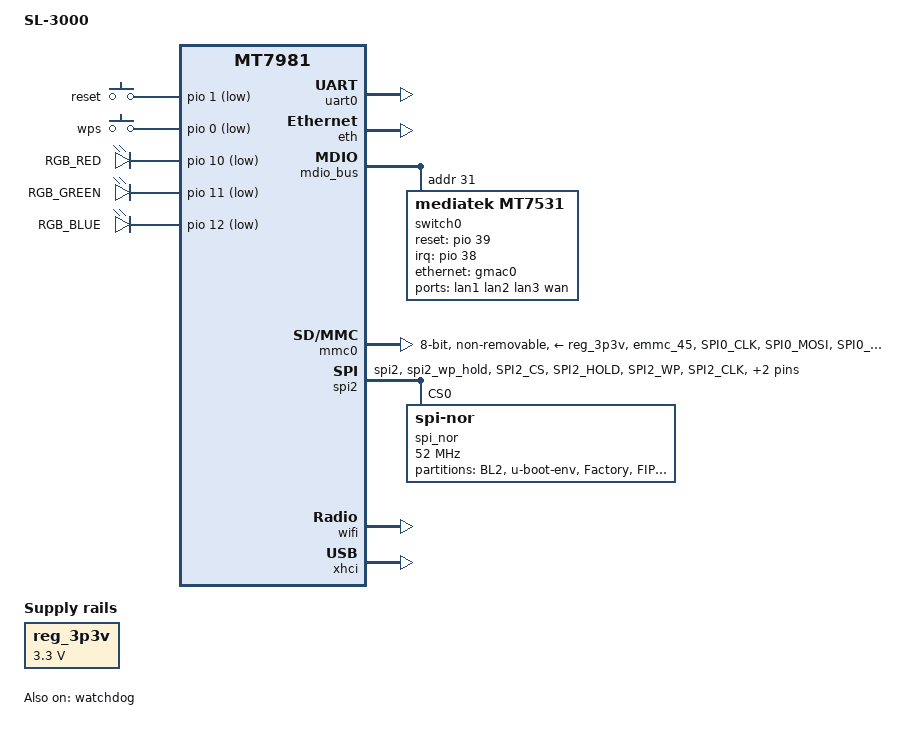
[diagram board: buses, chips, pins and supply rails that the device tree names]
/dts-v1/;

#include "mt7981.dtsi"

/ {
	model = "SL-3000";
	compatible = "sl,3000", "mediatek,mt7981";

	aliases {
		led-boot = &led_run;
		led-failsafe = &led_blue;
		led-running = &led_green;
		led-upgrade = &led_blue;
		serial0 = &uart0;
		label-mac-device = &wan;
	};

	chosen {
	        bootargs = "root=PARTLABEL=rootfs rootwait";
		stdout-path = "serial0:115200n8";
	};

	gpio-keys {
		compatible = "gpio-keys";

		reset {
			label = "reset";
			linux,code = <KEY_RESTART>;
			gpios = <&pio 1 GPIO_ACTIVE_LOW>;
		};

		wps {
			label = "wps";
			linux,code = <KEY_WPS_BUTTON>;
			gpios = <&pio 0 GPIO_ACTIVE_LOW>;
		};
	};

	leds {
		compatible = "gpio-leds";

		led_run: RGB_RED {
			label = "RGB_RED";
			gpios = <&pio 10 GPIO_ACTIVE_LOW>;
			default-state = "on";
		};

		led_green: RGB_GREEN {
			label = "RGB_GREEN";
			gpios = <&pio 11 GPIO_ACTIVE_LOW>;
			default-state = "off";
		};

		led_blue: RGB_BLUE {
			label = "RGB_BLUE";
			gpios = <&pio 12 GPIO_ACTIVE_LOW>;
			default-state = "off";
		};
	};

	reg_3p3v: regulator-3p3v {
		compatible = "regulator-fixed";
		regulator-name = "fixed-3.3V";
		regulator-min-microvolt = <3300000>;
		regulator-max-microvolt = <3300000>;
		regulator-boot-on;
		regulator-always-on;
	};
};

&uart0 {
	status = "okay";
};

&watchdog {
	status = "okay";
};

&eth {
	pinctrl-names = "default";
	pinctrl-0 = <&mdio_pins>;

	status = "okay";

	gmac0: mac@0 {
		compatible = "mediatek,eth-mac";
		reg = <0>;
		phy-mode = "2500base-x";
		nvmem-cells = <&macaddr_factory_4 (-1)>;
		nvmem-cell-names = "mac-address";

		fixed-link {
			speed = <2500>;
			full-duplex;
			pause;
		};
	};
};

&mdio_bus {
	switch0: switch@1f {
		compatible = "mediatek,mt7531";
		reg = <31>;
		dsa,member = <0 0>;
		reset-gpios = <&pio 39 GPIO_ACTIVE_HIGH>;
		interrupt-controller;
		#interrupt-cells = <1>;
		interrupt-parent = <&pio>;
		interrupts = <38 IRQ_TYPE_LEVEL_HIGH>;
	};
};

&switch0 {
	ports {
		#address-cells = <1>;
		#size-cells = <0>;

		port@0 {
			reg = <0>;
			label = "lan1";
		};

		port@1 {
			reg = <1>;
			label = "lan2";
		};

		port@2 {
			reg = <2>;
			label = "lan3";
		};

		wan: port@3 {
			reg = <3>;
			label = "wan";
			nvmem-cells = <&macaddr_factory_4 (-2)>;
			nvmem-cell-names = "mac-address";
		};

		port@6 {
			reg = <6>;
			ethernet = <&gmac0>;
			phy-mode = "2500base-x";

			fixed-link {
				speed = <2500>;
				full-duplex;
				pause;
			};
		};
	};
};

&mmc0 {
	pinctrl-names = "default", "state_uhs";
	pinctrl-0 = <&mmc0_pins_default>;
	pinctrl-1 = <&mmc0_pins_uhs>;
	bus-width = <8>;
	max-frequency = <52000000>;
	cap-mmc-highspeed;
	vmmc-supply = <&reg_3p3v>;
	non-removable;
	status = "okay";
};

&spi2 {
	pinctrl-names = "default";
	pinctrl-0 = <&spi2_flash_pins>;
	status = "okay";

	spi_nor@0 {
		#address-cells = <1>;
		#size-cells = <1>;
		compatible = "jedec,spi-nor";
		reg = <0>;
		spi-max-frequency = <52000000>;
		spi-tx-bus-width = <4>;
		spi-rx-bus-width = <4>;

		partitions {
			compatible = "fixed-partitions";
			#address-cells = <1>;
			#size-cells = <1>;

			partition@00000 {
				label = "BL2";
				reg = <0x00000 0x0100000>;
			};
			partition@100000 {
				label = "u-boot-env";
				reg = <0x0100000 0x0080000>;
			};
			factory: partition@180000 {
				label = "Factory";
				reg = <0x180000 0x0200000>;

				nvmem-layout {
					compatible = "fixed-layout";
					#address-cells = <1>;
					#size-cells = <1>;

					macaddr_factory_4: macaddr@4 {
						compatible = "mac-base";
						reg = <0x4 0x6>;
						#nvmem-cell-cells = <1>;
					};
				};
			};
			partition@380000 {
				label = "FIP";
				reg = <0x380000 0x0200000>;
			};
			partition@580000 {
				label = "firmware";
				reg = <0x580000 0x1900000>;
			};
			partition@1e80000 {
				label = "Product";
				reg = <0x1e80000 0x20000>;
			};
			partition@1ea0000 {
				label = "Custom";
				reg = <0x1ea0000 0x160000>;
			};
		};
	};
};

&pio {
	spi2_flash_pins: spi2-pins {
		mux {
			function = "spi";
			groups = "spi2", "spi2_wp_hold";
		};

		conf-pu {
			pins = "SPI2_CS", "SPI2_HOLD", "SPI2_WP";
			drive-strength = <MTK_DRIVE_8mA>;
			bias-pull-up = <MTK_PUPD_SET_R1R0_11>;
		};

		conf-pd {
			pins = "SPI2_CLK", "SPI2_MOSI", "SPI2_MISO";
			drive-strength = <MTK_DRIVE_8mA>;
			bias-pull-down = <MTK_PUPD_SET_R1R0_11>;
		};
	};

	mmc0_pins_default: mmc0-pins-default {
		mux {
			function = "flash";
			groups = "emmc_45";
		};

		conf-cmd-dat {
			pins = "SPI0_CLK", "SPI0_MOSI", "SPI0_MISO",
				"SPI0_CS",  "SPI0_HOLD", "SPI0_WP",
				"SPI1_CLK", "SPI1_MOSI", "SPI1_MISO";
			input-enable;
			drive-strength = <MTK_DRIVE_4mA>;
			bias-pull-up = <MTK_PUPD_SET_R1R0_01>;
		};

		conf-clk {
			pins = "SPI1_CS";
			drive-strength = <MTK_DRIVE_6mA>;
			bias-pull-down = <MTK_PUPD_SET_R1R0_10>;
		};

		conf-rst {
			pins = "PWM0";
			drive-strength = <MTK_DRIVE_4mA>;
			bias-pull-up = <MTK_PUPD_SET_R1R0_01>;
		};
	};

	mmc0_pins_uhs: mmc0-pins-uhs {
		mux {
			function = "flash";
			groups = "emmc_45";
		};

		conf-cmd-dat {
			pins = "SPI0_CLK", "SPI0_MOSI", "SPI0_MISO",
				"SPI0_CS",  "SPI0_HOLD", "SPI0_WP",
				"SPI1_CLK", "SPI1_MOSI", "SPI1_MISO";
			input-enable;
			drive-strength = <MTK_DRIVE_4mA>;
			bias-pull-up = <MTK_PUPD_SET_R1R0_01>;
		};

		conf-clk {
			pins = "SPI1_CS";
			drive-strength = <MTK_DRIVE_6mA>;
			bias-pull-down = <MTK_PUPD_SET_R1R0_10>;
		};

		conf-rst {
			pins = "PWM0";
			drive-strength = <MTK_DRIVE_4mA>;
			bias-pull-up = <MTK_PUPD_SET_R1R0_01>;
		};
	};
};

&wifi {
	mediatek,mtd-eeprom = <&factory 0x0>;

	status = "okay";
};

&xhci {
	status = "okay";
};
